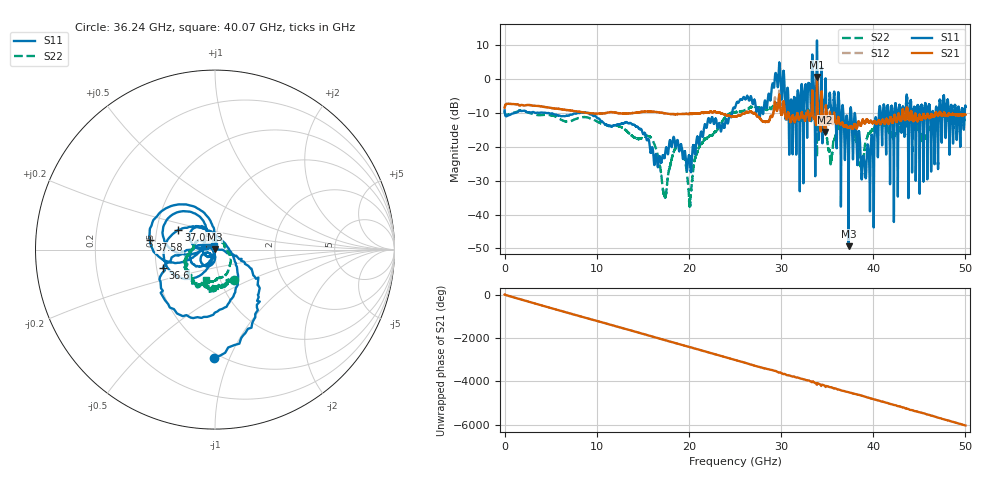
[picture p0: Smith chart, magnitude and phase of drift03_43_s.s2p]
!Created with skrf (http://scikit-rf.org).
# Hz S RI R 50.0
!freq ReS11 ImS11 ReS21 ImS21 ReS12 ImS12 ReS22 ImS22
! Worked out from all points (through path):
!   10001 points, 300 kHz to 50 GHz, reference 50 ohm
!   highest |S21| = 0.63 dB at 33.9 GHz (marker M1); lowest = -15.6 dB at 34.79 GHz (marker M2)
!   group delay of S21, straight-line fit = 335 ps
!   lowest |S11| = -49.3 dB at 37.33 GHz (marker M3), VSWR 1.01, Z = 49.9 + j0.31 ohm
!   |S11| at or under -10 dB: 4.471 GHz to 7.944 GHz (3.473 GHz wide, 55.9 % of centre); 9.017 GHz to 24.7 GHz (15.68 GHz wide, 93 % of centre); 37.62 GHz to 40.62 GHz (3 GHz wide, 7.67 % of centre) (the widest 3 of 56)
!   |S22| runs from -37.6 to -5.9 dB; largest |S21 - S12| = 0.11
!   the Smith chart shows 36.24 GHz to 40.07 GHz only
!   S11 on the Smith chart (normalised r, x): 36.24 GHz: 0.47, -0.88; 36.6 GHz: 0.54, -0.12; 37.05 GHz: 0.65, +0.15; 37.58 GHz: 0.46, +0.06; 40.07 GHz: 0.99, +0.04
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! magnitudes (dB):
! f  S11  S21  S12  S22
! 300 kHz  -9.2  -8.5  -8.5  -9.4
! 8.335 GHz  -9.9  -9.8  -9.8  -11.3
! 16.67 GHz  -25.5  -9.8  -9.8  -23.3
! 17.39 GHz  -22.7  -10.1  -10.1  -34.8
! 19.08 GHz  -19.7  -10.3  -10.3  -20.1
! 20.13 GHz  -24.5  -10.3  -10.3  -36.2
! 21.19 GHz  -17.9  -10.1  -10.1  -19.7
! 25 GHz  -8.5  -11.1  -11.1  -9.9
! 29.66 GHz  -2.3  -8.3  -8.4  -7.1
! 31.08 GHz  -6.2  -12.7  -12.6  -10.5
! 33.34 GHz  0.4  -7.5  -7.5  -9.4
! 33.9 GHz  11.4  0.6  0.2  -23.0
! 34.79 GHz  -3.7  -15.6  -14.0  -14.3
! 36.24 GHz  -4.4  -11.7  -11.7  -14.0
! 36.6 GHz  -10.3  -13.1  -13.0  -13.7
! 37.05 GHz  -12.7  -13.9  -14.0  -13.4
! 37.33 GHz  -49.3  -14.3  -14.5  -13.4
! 37.58 GHz  -8.7  -13.9  -13.8  -14.2
! 38.71 GHz  -27.1  -13.4  -13.3  -25.3
! 40.07 GHz  -34.5  -12.7  -12.8  -15.1
! 41.67 GHz  -9.6  -13.3  -13.2  -15.0
! 50 GHz  -8.2  -10.5  -10.6  -12.1
